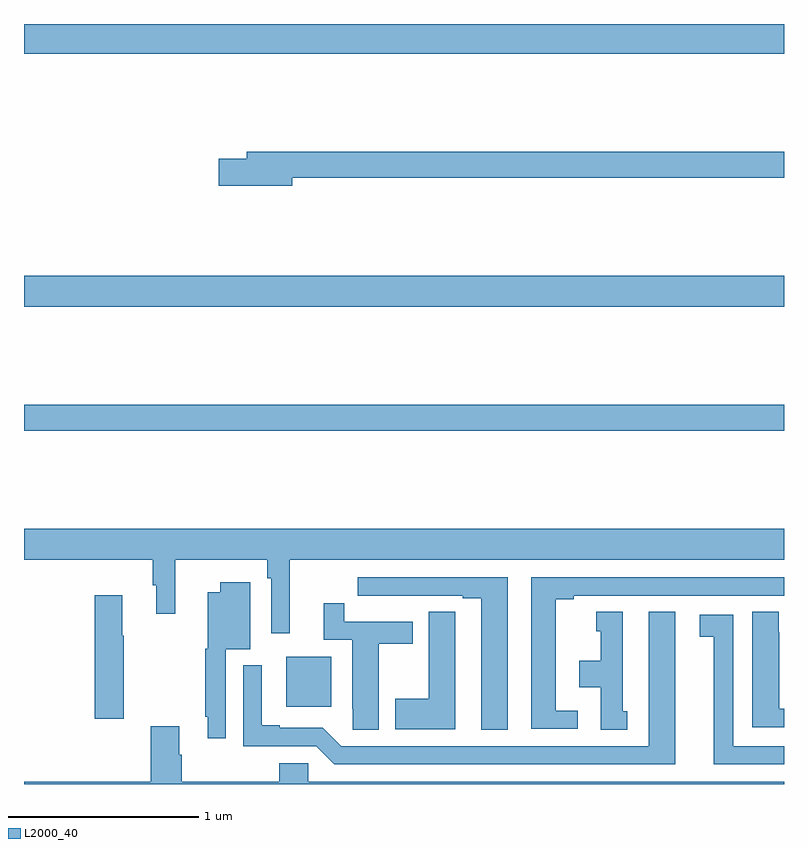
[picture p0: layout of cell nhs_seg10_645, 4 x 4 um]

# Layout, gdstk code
import gdstk
lib = gdstk.Library(unit=1e-6, precision=1e-09)
def R(c, l, rs):  # rectangles x0, y0, x1, y1
    for r in rs: c.add(gdstk.rectangle(r[:2], r[2:], *l))
def P(c, l, *ps):  # polygons
    for p in ps: c.add(gdstk.Polygon(p, *l))
L2000_40 = (2000, 40)

nhs_seg10_645 = lib.new_cell('nhs_seg10_645')
R(nhs_seg10_645, L2000_40, [(144.38,1268.906,144.616,1269.169), (143,1270.36,147,1270.496), (143,1271.012,147,1271.176), (143,1272.344,147,1272.5)])
P(nhs_seg10_645, L2000_40, [(144.412,1271.692),(147,1271.692),(147,1271.828),(144.173,1271.828),(144.173,1271.792),(144.024,1271.792),(144.024,1271.65),(144.412,1271.65)],
  [(144.398,1269.68),(147,1269.68),(147,1269.844),(143,1269.844),(143,1269.68),(143.677,1269.68),(143.677,1269.546),(143.696,1269.546),(143.696,1269.396),(143.796,1269.396),(143.796,1269.68),(144.28,1269.68),(144.28,1269.584),(144.3,1269.584),(144.3,1269.294),(144.398,1269.294)],
  [(145.546,1269.588),(144.756,1269.588),(144.756,1269.492),(144.868,1269.492),(144.868,1269.491),(145.034,1269.491),(145.034,1269.492),(145.31,1269.492),(145.31,1269.477),(145.406,1269.477),(145.406,1268.785),(145.546,1268.785)],
  [(145.915,1268.886),(145.798,1268.886),(145.798,1269.472),(145.894,1269.472),(145.894,1269.492),(147,1269.492),(147,1269.588),(145.67,1269.588),(145.67,1268.79),(145.915,1268.79)],
  [(144.063,1269.209),(144.19,1269.209),(144.19,1269.562),(144.032,1269.562),(144.032,1269.508),(143.966,1269.508),(143.966,1269.213),(143.955,1269.213),(143.955,1268.854),(143.966,1268.854),(143.966,1268.742),(144.063,1268.742)],
  [(143.526,1269.28),(143.518,1269.28),(143.518,1269.493),(143.372,1269.493),(143.372,1268.844),(143.526,1268.844)],
  [(144.868,1269.238),(145.045,1269.238),(145.045,1269.354),(144.686,1269.354),(144.686,1269.451),(144.578,1269.451),(144.578,1269.258),(144.728,1269.258),(144.728,1268.896),(144.729,1268.896),(144.729,1268.785),(144.868,1268.785)],
  [(147,1268.896),(146.974,1268.896),(146.974,1269.299),(146.973,1269.299),(146.973,1269.407),(146.834,1269.407),(146.834,1268.799),(147,1268.799)],
  [(145.27,1269.299),(145.269,1269.299),(145.269,1269.407),(145.13,1269.407),(145.13,1268.949),(144.953,1268.949),(144.953,1268.789),(145.27,1268.789)],
  [(146.176,1268.883),(146.152,1268.883),(146.152,1269.406),(146.012,1269.406),(146.012,1269.303),(146.036,1269.303),(146.036,1269.148),(145.922,1269.148),(145.922,1269.008),(146.036,1269.008),(146.036,1268.785),(146.176,1268.785)],
  [(146.428,1269.406),(146.288,1269.406),(146.288,1268.7),(144.669,1268.7),(144.573,1268.796),(144.346,1268.796),(144.346,1268.809),(144.25,1268.809),(144.25,1269.124),(144.153,1269.124),(144.153,1268.7),(144.537,1268.7),(144.633,1268.604),(146.428,1268.604)],
  [(147,1268.7),(146.734,1268.7),(146.734,1269.39),(146.556,1269.39),(146.556,1269.274),(146.63,1269.274),(146.63,1268.604),(147,1268.604)],
  [(144.344,1268.512),(143.831,1268.512),(143.831,1268.654),(143.818,1268.654),(143.818,1268.803),(143.666,1268.803),(143.666,1268.512),(143,1268.512),(143,1268.5),(147,1268.5),(147,1268.512),(144.495,1268.512),(144.495,1268.61),(144.344,1268.61)])

lib.write_gds('nhs_seg10_645.gds')
